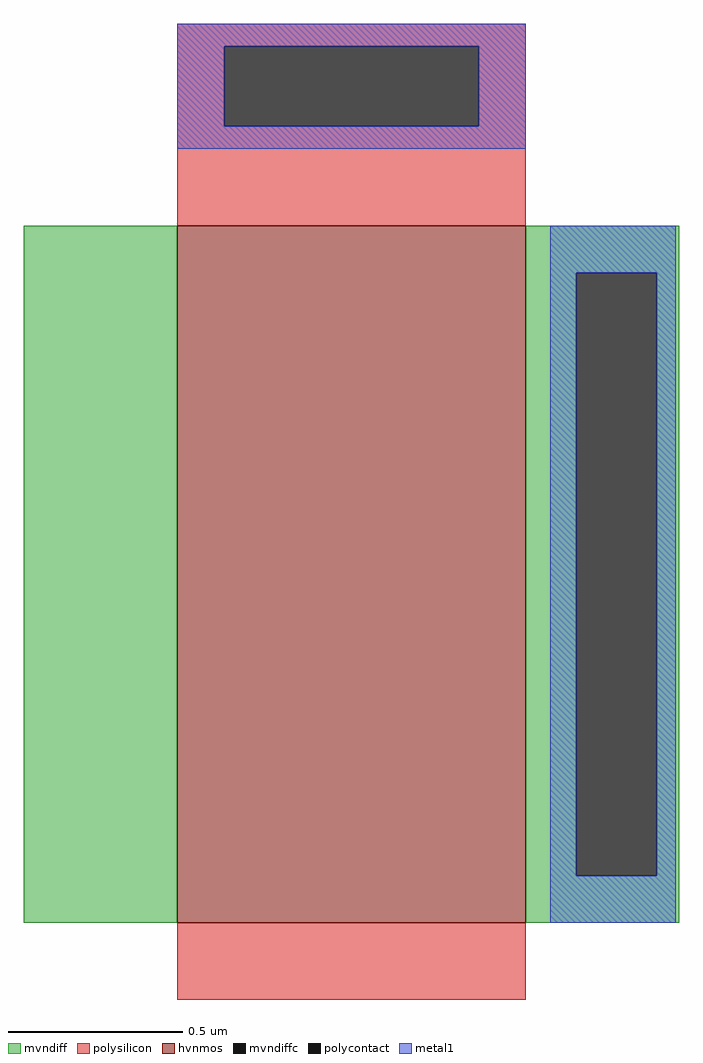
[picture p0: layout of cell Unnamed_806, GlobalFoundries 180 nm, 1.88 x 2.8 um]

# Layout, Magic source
magic
tech gf180mcuD
magscale 1 10
<< hvnmos >>
rect 14 0 214 400
<< mvndiff >>
rect -74 0 14 400
rect 214 373 302 400
rect 214 27 243 373
rect 289 27 302 373
rect 214 0 302 27
<< mvndiffc >>
rect 243 27 289 373
<< polysilicon >>
rect 14 503 214 516
rect 14 457 41 503
rect 187 457 214 503
rect 14 400 214 457
rect 14 -44 214 0
<< polycontact >>
rect 41 457 187 503
<< metal1 >>
rect 14 503 214 516
rect 14 457 41 503
rect 187 457 214 503
rect 14 444 214 457
rect 228 373 300 400
rect 228 27 243 373
rect 289 27 300 373
rect 228 0 300 27
<< end >>
